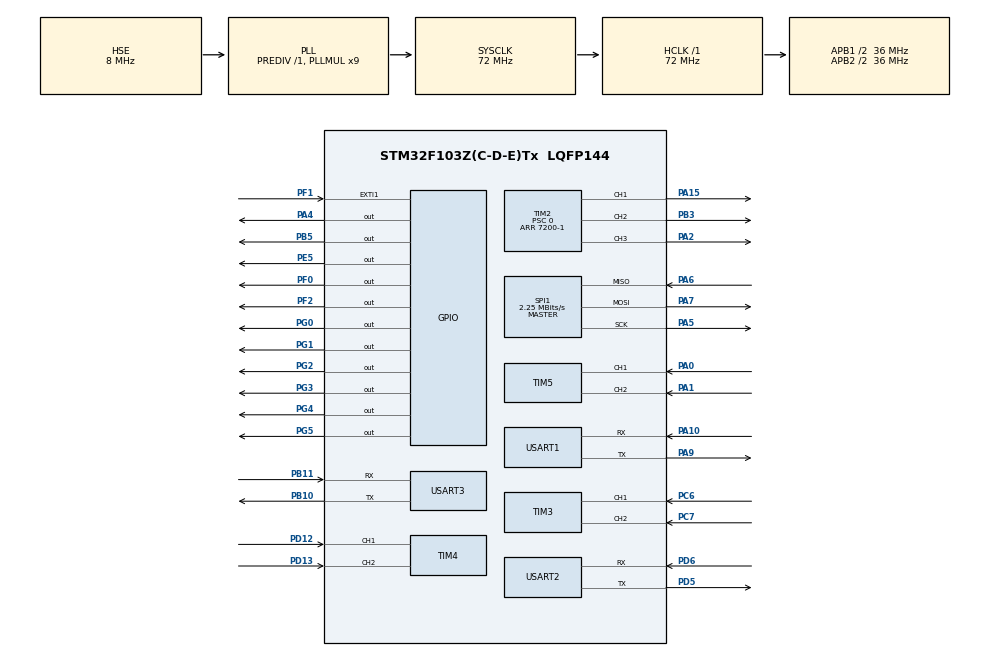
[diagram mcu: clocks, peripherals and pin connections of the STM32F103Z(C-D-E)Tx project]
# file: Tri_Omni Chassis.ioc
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FREERTOS.Tasks01=defaultTask,0,128,StartDefaultTask,Default,NULL,Dynamic,NULL,NULL
Mcu.Family=STM32F1
Mcu.Name=STM32F103Z(C-D-E)Tx
Mcu.Package=LQFP144
NVIC.EXTI1_IRQn=true\:5\:0\:false\:false\:true\:true\:true\:true\:true
NVIC.PriorityGroup=NVIC_PRIORITYGROUP_4
NVIC.SPI1_IRQn=true\:5\:0\:false\:false\:true\:true\:true\:true\:true
NVIC.TIM2_IRQn=true\:5\:0\:false\:false\:true\:true\:true\:true\:true
NVIC.TIM3_IRQn=true\:5\:0\:false\:false\:true\:true\:true\:true\:true
NVIC.TIM4_IRQn=true\:5\:0\:false\:false\:true\:true\:true\:true\:true
NVIC.TIM5_IRQn=true\:5\:0\:false\:false\:true\:true\:true\:true\:true
NVIC.TIM6_IRQn=true\:5\:0\:false\:false\:true\:true\:true\:true\:true
NVIC.USART1_IRQn=true\:5\:0\:false\:false\:true\:true\:true\:true\:true
NVIC.USART2_IRQn=true\:5\:0\:false\:false\:true\:true\:true\:true\:true
NVIC.USART3_IRQn=true\:5\:0\:false\:false\:true\:true\:true\:true\:true
OSC_IN.Mode=HSE-External-Oscillator
OSC_IN.Signal=RCC_OSC_IN
OSC_OUT.Mode=HSE-External-Oscillator
OSC_OUT.Signal=RCC_OSC_OUT
PA0-WKUP.GPIO_Mode=GPIO_MODE_INPUT
PA0-WKUP.GPIO_PuPd=GPIO_NOPULL
PA0-WKUP.Signal=S_TIM5_CH1
PA1.GPIO_Mode=GPIO_MODE_INPUT
PA1.GPIO_PuPd=GPIO_NOPULL
PA1.Signal=S_TIM5_CH2
PA10.Mode=Asynchronous
PA10.Signal=USART1_RX
PA13.Mode=Serial_Wire
PA13.Signal=SYS_JTMS-SWDIO
PA14.Mode=Serial_Wire
PA14.Signal=SYS_JTCK-SWCLK
PA15.Signal=S_TIM2_CH1_ETR
PA2.Signal=S_TIM2_CH3
PA4.GPIO_ModeDefaultOutputPP=GPIO_MODE_OUTPUT_PP
PA4.GPIO_PuPd=GPIO_NOPULL
PA4.GPIO_Speed=GPIO_SPEED_FREQ_HIGH
PA4.PinState=GPIO_PIN_SET
PA4.Signal=GPIO_Output
PA5.Mode=Full_Duplex_Master
PA5.Signal=SPI1_SCK
PA6.Mode=Full_Duplex_Master
PA6.Signal=SPI1_MISO
PA7.Mode=Full_Duplex_Master
PA7.Signal=SPI1_MOSI
PA9.Mode=Asynchronous
PA9.Signal=USART1_TX
PB10.Mode=Asynchronous
PB10.Signal=USART3_TX
PB11.Mode=Asynchronous
PB11.Signal=USART3_RX
PB3.Signal=S_TIM2_CH2
PB5.GPIO_ModeDefaultOutputPP=GPIO_MODE_OUTPUT_PP
PB5.GPIO_PuPd=GPIO_NOPULL
PB5.GPIO_Speed=GPIO_SPEED_FREQ_HIGH
PB5.PinState=GPIO_PIN_SET
PB5.Signal=GPIO_Output
PC6.GPIO_Mode=GPIO_MODE_INPUT
PC6.GPIO_PuPd=GPIO_NOPULL
PC6.Signal=S_TIM3_CH1
PC7.GPIO_Mode=GPIO_MODE_INPUT
PC7.GPIO_PuPd=GPIO_NOPULL
PC7.Signal=S_TIM3_CH2
PD12.GPIO_Mode=GPIO_MODE_INPUT
PD12.GPIO_PuPd=GPIO_NOPULL
PD12.Signal=S_TIM4_CH1
PD13.GPIO_Mode=GPIO_MODE_INPUT
PD13.GPIO_PuPd=GPIO_NOPULL
PD13.Signal=S_TIM4_CH2
PD5.Mode=Asynchronous
PD5.Signal=USART2_TX
PD6.Mode=Asynchronous
PD6.Signal=USART2_RX
PE5.GPIO_Speed=GPIO_SPEED_FREQ_HIGH
PE5.PinState=GPIO_PIN_SET
PE5.Signal=GPIO_Output
PF0.GPIO_ModeDefaultOutputPP=GPIO_MODE_OUTPUT_OD
PF0.GPIO_PuPd=GPIO_NOPULL
PF0.GPIO_Speed=GPIO_SPEED_FREQ_HIGH
PF0.PinState=GPIO_PIN_SET
PF0.Signal=GPIO_Output
PF1.GPIO_ModeDefaultEXTI=GPIO_MODE_IT_RISING
PF1.GPIO_PuPd=GPIO_PULLDOWN
PF1.Signal=GPXTI1
PF2.GPIO_ModeDefaultOutputPP=GPIO_MODE_OUTPUT_OD
PF2.GPIO_PuPd=GPIO_NOPULL
PF2.GPIO_Speed=GPIO_SPEED_FREQ_HIGH
PF2.PinState=GPIO_PIN_SET
PF2.Signal=GPIO_Output
PG0.Signal=GPIO_Output
PG1.GPIO_ModeDefaultOutputPP=GPIO_MODE_OUTPUT_PP
PG1.GPIO_PuPd=GPIO_PULLUP
PG1.GPIO_Speed=GPIO_SPEED_FREQ_HIGH
PG1.PinState=GPIO_PIN_RESET
PG1.Signal=GPIO_Output
PG2.GPIO_ModeDefaultOutputPP=GPIO_MODE_OUTPUT_PP
PG2.GPIO_PuPd=GPIO_PULLUP
PG2.GPIO_Speed=GPIO_SPEED_FREQ_HIGH
PG2.PinState=GPIO_PIN_RESET
PG2.Signal=GPIO_Output
PG3.GPIO_ModeDefaultOutputPP=GPIO_MODE_OUTPUT_PP
PG3.GPIO_PuPd=GPIO_PULLUP
PG3.GPIO_Speed=GPIO_SPEED_FREQ_HIGH
PG3.PinState=GPIO_PIN_RESET
PG3.Signal=GPIO_Output
PG4.GPIO_ModeDefaultOutputPP=GPIO_MODE_OUTPUT_PP
PG4.GPIO_PuPd=GPIO_PULLUP
PG4.GPIO_Speed=GPIO_SPEED_FREQ_HIGH
PG4.PinState=GPIO_PIN_RESET
PG4.Signal=GPIO_Output
PG5.GPIO_ModeDefaultOutputPP=GPIO_MODE_OUTPUT_PP
PG5.GPIO_PuPd=GPIO_PULLUP
PG5.GPIO_Speed=GPIO_SPEED_FREQ_HIGH
PG5.PinState=GPIO_PIN_RESET
PG5.Signal=GPIO_Output
ProjectManager.HeapSize=0x200
ProjectManager.StackSize=0x400
ProjectManager.TargetToolchain=MDK-ARM V5.32
RCC.AHBFreq_Value=72000000
RCC.APB1CLKDivider=RCC_HCLK_DIV2
RCC.APB1Freq_Value=36000000
RCC.APB1TimFreq_Value=72000000
RCC.APB2CLKDivider=RCC_HCLK_DIV2
RCC.APB2Freq_Value=36000000
RCC.APB2TimFreq_Value=72000000
RCC.HCLKFreq_Value=72000000
RCC.PLLMUL=RCC_PLL_MUL9
RCC.PLLSourceVirtual=RCC_PLLSOURCE_HSE
RCC.SYSCLKFreq_VALUE=72000000
RCC.SYSCLKSource=RCC_SYSCLKSOURCE_PLLCLK
RCC.USBFreq_Value=72000000
SH.S_TIM2_CH1_ETR.0=TIM2_CH1,PWM Generation1 CH1
SH.S_TIM2_CH2.0=TIM2_CH2,PWM Generation2 CH2
SH.S_TIM2_CH3.0=TIM2_CH3,PWM Generation3 CH3
SH.S_TIM3_CH1.0=TIM3_CH1,Encoder_Interface
SH.S_TIM3_CH2.0=TIM3_CH2,Encoder_Interface
SH.S_TIM4_CH1.0=TIM4_CH1,Encoder_Interface
SH.S_TIM4_CH2.0=TIM4_CH2,Encoder_Interface
SH.S_TIM5_CH1.0=TIM5_CH1,Encoder_Interface
SH.S_TIM5_CH2.0=TIM5_CH2,Encoder_Interface
SPI1.BaudRatePrescaler=SPI_BAUDRATEPRESCALER_16
SPI1.CalculateBaudRate=2.25 MBits/s
SPI1.Direction=SPI_DIRECTION_2LINES
SPI1.Mode=SPI_MODE_MASTER
SPI1.VirtualType=VM_MASTER
TIM2.Channel-PWM\ Generation1\ CH1=TIM_CHANNEL_1
TIM2.Channel-PWM\ Generation2\ CH2=TIM_CHANNEL_2
TIM2.Channel-PWM\ Generation3\ CH3=TIM_CHANNEL_3
TIM2.Period=7200-1
TIM2.Prescaler=0
TIM3.EncoderMode=TIM_ENCODERMODE_TI12
TIM3.IC1Filter=10
TIM3.IC2Filter=10
TIM4.EncoderMode=TIM_ENCODERMODE_TI12
TIM4.IC1Filter=10
TIM4.IC2Filter=10
TIM5.EncoderMode=TIM_ENCODERMODE_TI12
TIM5.IC1Filter=10
TIM5.IC2Filter=10
TIM6.Period=7200-1
TIM6.Prescaler=500-1
USART1.VirtualMode=VM_ASYNC
USART2.VirtualMode=VM_ASYNC
USART3.VirtualMode=VM_ASYNC
VP_FREERTOS_VS_CMSIS_V1.Mode=CMSIS_V1
VP_TIM6_VS_ClockSourceINT.Mode=Enable_Timer
board=custom

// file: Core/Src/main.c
/* USER CODE BEGIN Header */
/**
  ******************************************************************************
  * @file           : main.c
  * @brief          : Main program body
  ******************************************************************************
  * @attention
  *
  * Copyright (c) 2025 STMicroelectronics.
  * All rights reserved.
  *
  * This software is licensed under terms that can be found in the LICENSE file
  * in the root directory of this software component.
  * If no LICENSE file comes with this software, it is provided AS-IS.
  *
  ******************************************************************************
  */
/* USER CODE END Header */
#include "main.h"
#include "cmsis_os.h"
#include "spi.h"
#include "tim.h"
#include "usart.h"
#include "gpio.h"

void SystemClock_Config(void);
void MX_FREERTOS_Init(void);

int main(void)
{

  /* MCU Configuration--------------------------------------------------------*/

  /* Reset of all peripherals, Initializes the Flash interface and the Systick. */
  HAL_Init();

  /* Configure the system clock */
  SystemClock_Config();

  /* Initialize all configured peripherals */
  MX_GPIO_Init();
  MX_TIM2_Init();
  MX_TIM3_Init();
  MX_TIM4_Init();
  MX_TIM5_Init();
  MX_TIM6_Init();
  MX_USART1_UART_Init();
  MX_SPI1_Init();
  MX_USART2_UART_Init();
  MX_USART3_UART_Init();

  /* Call init function for freertos objects (in cmsis_os2.c) */
  MX_FREERTOS_Init();

  /* Start scheduler */
  osKernelStart();

  /* We should never get here as control is now taken by the scheduler */

  /* Infinite loop */
  while (1)
  {

  }
}

void SystemClock_Config(void)
{
  RCC_OscInitTypeDef RCC_OscInitStruct = {0};
  RCC_ClkInitTypeDef RCC_ClkInitStruct = {0};

  /** Initializes the RCC Oscillators according to the specified parameters
  * in the RCC_OscInitTypeDef structure.
  */
  RCC_OscInitStruct.OscillatorType = RCC_OSCILLATORTYPE_HSE;
  RCC_OscInitStruct.HSEState = RCC_HSE_ON;
  RCC_OscInitStruct.HSEPredivValue = RCC_HSE_PREDIV_DIV1;
  RCC_OscInitStruct.HSIState = RCC_HSI_ON;
  RCC_OscInitStruct.PLL.PLLState = RCC_PLL_ON;
  RCC_OscInitStruct.PLL.PLLSource = RCC_PLLSOURCE_HSE;
  RCC_OscInitStruct.PLL.PLLMUL = RCC_PLL_MUL9;
  if (HAL_RCC_OscConfig(&RCC_OscInitStruct) != HAL_OK)
  {
    Error_Handler();
  }

  /** Initializes the CPU, AHB and APB buses clocks
  */
  RCC_ClkInitStruct.ClockType = RCC_CLOCKTYPE_HCLK|RCC_CLOCKTYPE_SYSCLK
                              |RCC_CLOCKTYPE_PCLK1|RCC_CLOCKTYPE_PCLK2;
  RCC_ClkInitStruct.SYSCLKSource = RCC_SYSCLKSOURCE_PLLCLK;
  RCC_ClkInitStruct.AHBCLKDivider = RCC_SYSCLK_DIV1;
  RCC_ClkInitStruct.APB1CLKDivider = RCC_HCLK_DIV2;
  RCC_ClkInitStruct.APB2CLKDivider = RCC_HCLK_DIV2;

  if (HAL_RCC_ClockConfig(&RCC_ClkInitStruct, FLASH_LATENCY_2) != HAL_OK)
  {
    Error_Handler();
  }
}

void Error_Handler(void)
{
  __disable_irq();
  while (1)
  {
  }
}

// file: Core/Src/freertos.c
/* USER CODE BEGIN Header */
/**
  ******************************************************************************
  * File Name          : freertos.c
  * Description        : Code for freertos applications
  ******************************************************************************
  * @attention
  *
  * Copyright (c) 2025 STMicroelectronics.
  * All rights reserved.
  *
  * This software is licensed under terms that can be found in the LICENSE file
  * in the root directory of this software component.
  * If no LICENSE file comes with this software, it is provided AS-IS.
  *
  ******************************************************************************
  */
/* USER CODE END Header */

#include "FreeRTOS.h"
#include "task.h"
#include "main.h"
#include "cmsis_os.h"

/* USER CODE BEGIN Includes */
#include "motor_control.h"
#include "chassis_task.h"
#include "dw_task.h"
#include "ins_task.h"
/* USER CODE END Includes */

osThreadId defaultTaskHandle;

/* USER CODE BEGIN FunctionPrototypes */
osThreadId motorTaskHandle;
osThreadId chassisTaskHandle;
osThreadId dwTaskHandle;
osThreadId INSTaskHandle;
/* USER CODE END FunctionPrototypes */

void StartDefaultTask(void const * argument);

void MX_FREERTOS_Init(void); /* (MISRA C 2004 rule 8.1) */

/* GetIdleTaskMemory prototype (linked to static allocation support) */
void vApplicationGetIdleTaskMemory( StaticTask_t **ppxIdleTaskTCBBuffer, StackType_t **ppxIdleTaskStackBuffer, uint32_t *pulIdleTaskStackSize );

/* USER CODE BEGIN GET_IDLE_TASK_MEMORY */
static StaticTask_t xIdleTaskTCBBuffer;
static StackType_t xIdleStack[configMINIMAL_STACK_SIZE];

void vApplicationGetIdleTaskMemory( StaticTask_t **ppxIdleTaskTCBBuffer, StackType_t **ppxIdleTaskStackBuffer, uint32_t *pulIdleTaskStackSize )
{
  *ppxIdleTaskTCBBuffer = &xIdleTaskTCBBuffer;
  *ppxIdleTaskStackBuffer = &xIdleStack[0];
  *pulIdleTaskStackSize = configMINIMAL_STACK_SIZE;
  /* place for user code */
}
/* USER CODE END GET_IDLE_TASK_MEMORY */

void MX_FREERTOS_Init(void) {

  /* Create the thread(s) */
  /* definition and creation of defaultTask */
  osThreadDef(defaultTask, StartDefaultTask, osPriorityNormal, 0, 128);
  defaultTaskHandle = osThreadCreate(osThread(defaultTask), NULL);

  /* USER CODE BEGIN RTOS_THREADS */
  /* add threads, ... */
  osThreadDef(INSTask, INS_task, osPriorityNormal, 0, 128);
  INSTaskHandle = osThreadCreate(osThread(INSTask), NULL);

  osThreadDef(dwTask, dw_task, osPriorityNormal, 0, 64);
  dwTaskHandle = osThreadCreate(osThread(dwTask), NULL);

  osThreadDef(motorTask, motor_task, osPriorityNormal, 0, 128);
  motorTaskHandle = osThreadCreate(osThread(motorTask), NULL);

  osThreadDef(chassisTask, chassis_task, osPriorityNormal, 0, 128);
  chassisTaskHandle = osThreadCreate(osThread(chassisTask), NULL);

  /* USER CODE END RTOS_THREADS */

}

void StartDefaultTask(void const * argument)
{
  for(;;)
  {
    osDelay(1);
  }
}
